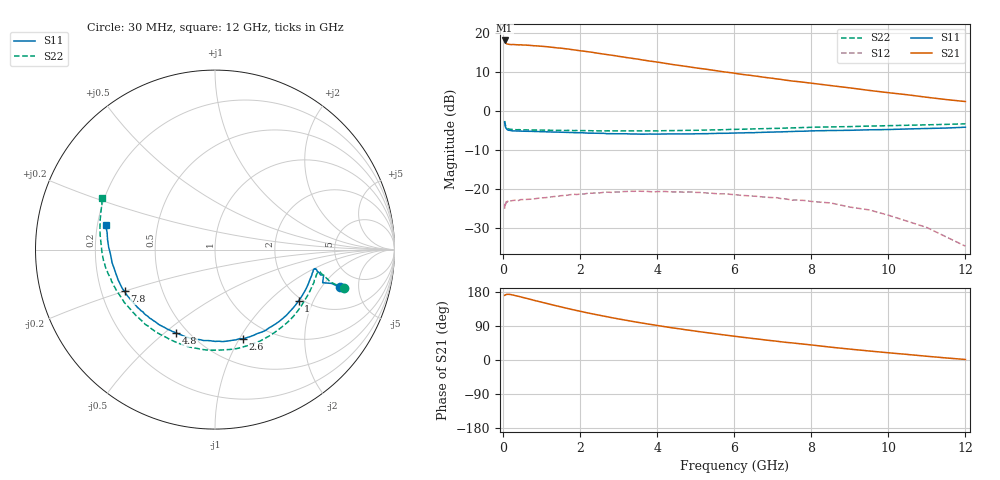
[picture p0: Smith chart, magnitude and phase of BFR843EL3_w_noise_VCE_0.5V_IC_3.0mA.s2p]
! Infineon Technologies  Discrete & RF Semiconductors
! BFR843EL3
! VCE =  0.5 V,  IC =  3.0 mA
! Common Emitter S-Parameters:  Aug 2013
# GHz  S  MA  R  50
!  f  S11  S21  S12  S22
! GHz  MAG  ANG  MAG  ANG  MAG  ANG  MAG  ANG
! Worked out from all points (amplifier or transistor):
!   103 points, 30 MHz to 12 GHz, reference 50 ohm
!   highest |S21| = 18.1 dB at 30 MHz (marker M1)
!   |S21| within 3 dB of that: start of sweep to 2.279 GHz
!   unconditionally stable (mu >= 1): 327 MHz to 363.5 MHz; 7.406 GHz to end of sweep
!   at 400 MHz: K = 0.99, MSG = 19.9 dB, |S12| = -22.8 dB
!   at 3.7 GHz: K = 0.69, MSG = 16.8 dB, |S12| = -20.5 dB
!   at 12 GHz: K = 6.01, MAG = 7.8 dB, |S12| = -34.6 dB
!   lowest NFmin = 1.00 dB at 450 MHz
!   S11 on the Smith chart (normalised r, x): 30 MHz: 3.47, -3.06; 1 GHz: 1.92, -1.55; 2.6 GHz: 0.76, -1.04; 4.8 GHz: 0.44, -0.55; 7.8 GHz: 0.30, -0.20; 12 GHz: 0.23, +0.10
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0.03  0.7259 -16.7  8.06 170.7  0.0564 35.1  0.7509 -16.6
0.04  0.6757 -16.2  7.773 171.1  0.0644 29.8  0.7003 -16.1
0.06  0.6217 -13.2  7.459 172.1  0.0611 21.9  0.6441 -14.5
0.08  0.5969 -12.6  7.314 173.0  0.0687 16.3  0.618 -13.3
0.15  0.5712 -10.9  7.176 173.3  0.0704 10.1  0.5901 -12.0
0.2  0.5641 -10.9  7.134 172.5  0.0711 7.3  0.5865 -12.6
0.6  0.5537 -20.2  7.023 162.7  0.0742 4.8  0.5765 -25.6
1  0.5461 -31.4  6.783 152.3  0.0778 4.7  0.5738 -40.1
1.5  0.5384 -45.3  6.42 140.0  0.083 5.0  0.5685 -57.5
1.7  0.5346 -50.4  6.241 135.2  0.0848 4.1  0.5681 -64.0
2.1  0.5281 -60.6  5.867 126.2  0.0872 2.7  0.5647 -76.3
2.6  0.5213 -72.5  5.393 115.9  0.0915 -1.3  0.5604 -90.0
3.3  0.5108 -87.7  4.795 102.7  0.0944 -6.6  0.5609 -106.7
4.1  0.5103 -102.6  4.186 89.4  0.0937 -12.3  0.5622 -122.3
4.8  0.512 -114.8  3.716 78.9  0.0926 -17.2  0.5693 -134.4
5.3  0.5164 -122.4  3.431 71.9  0.0895 -21.2  0.5739 -141.7
6.1  0.5274 -133.7  3.012 61.5  0.0846 -26.7  0.5873 -152.5
6.9  0.5396 -144.2  2.671 51.7  0.0787 -31.9  0.5999 -161.9
7.8  0.5544 -155.2  2.351 41.9  0.0721 -36.8  0.6189 -171.4
8.5  0.5658 -162.9  2.131 33.9  0.0669 -42.3  0.63 -178.6
10.5  0.5928 178.6  1.623 14.6  0.0389 -53.5  0.6613 165.3
12  0.6242 167.4  1.331 1.4  0.0187 -41.3  0.6898 155.5
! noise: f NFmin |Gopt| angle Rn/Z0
0.45  1  0.3  5  0.24
0.9  1.01  0.29  19  0.22
1.5  1.04  0.3  32  0.21
1.9  1.06  0.3  37  0.2
2.4  1.09  0.31  47  0.2
3.5  1.15  0.3  69  0.17
5.5  1.27  0.33  105  0.13
8  1.41  0.4  147  0.09
10  1.52  0.45  198  0.06
